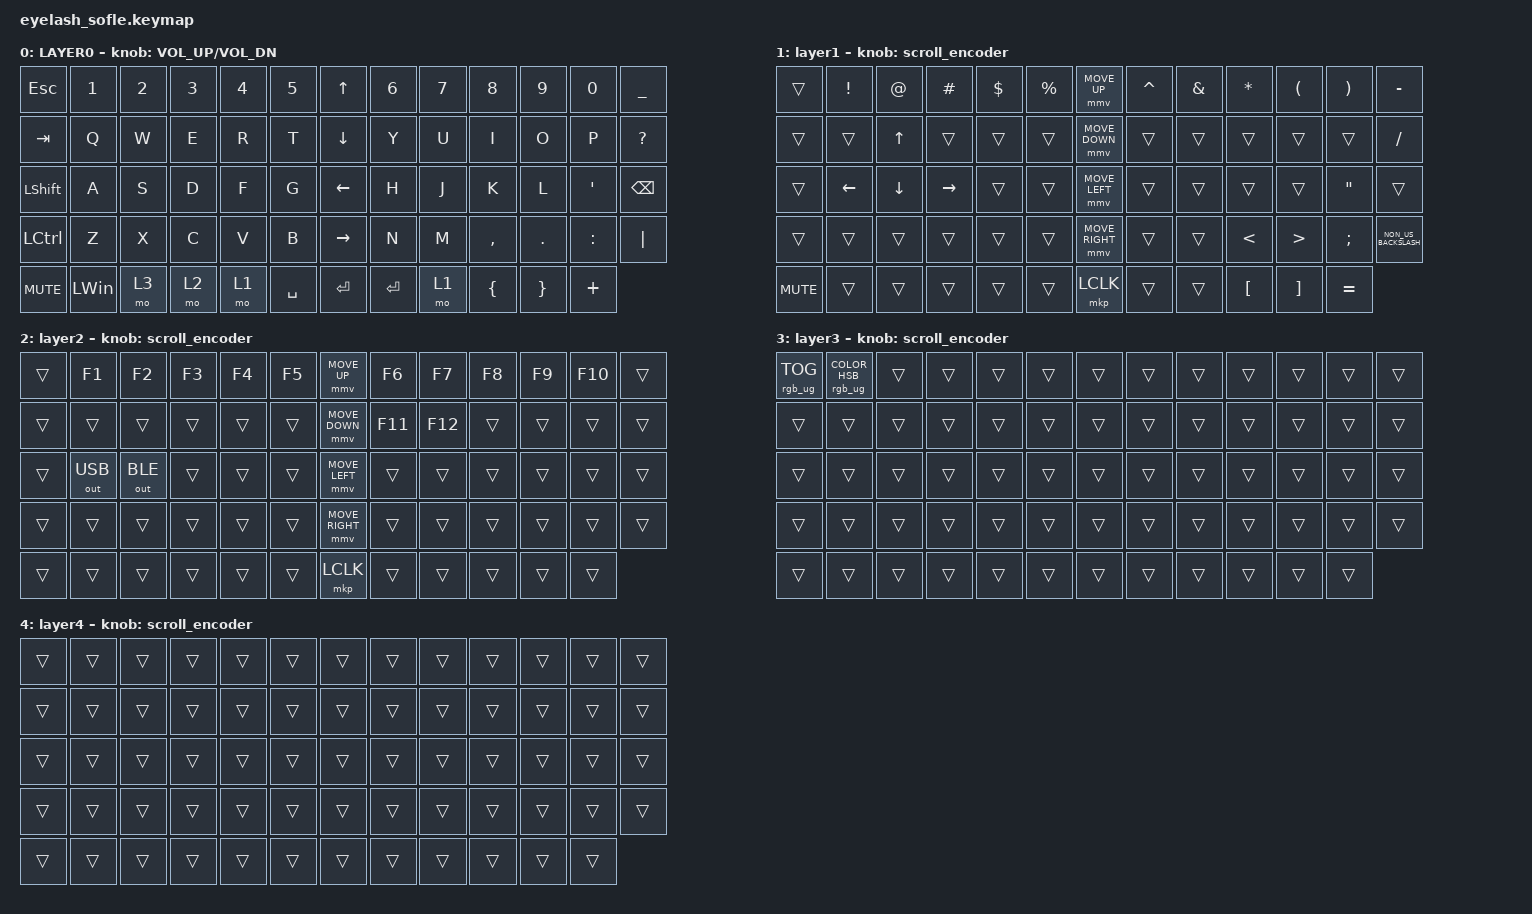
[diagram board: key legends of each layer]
#define ZMK_POINTING_DEFAULT_MOVE_VAL 1200  // 600
#define ZMK_POINTING_DEFAULT_SCRL_VAL 25   // 10

#include <input/processors.dtsi>
#include <zephyr/dt-bindings/input/input-event-codes.h>
#include <behaviors.dtsi>
#include <dt-bindings/zmk/bt.h>
#include <dt-bindings/zmk/keys.h>
#include <dt-bindings/zmk/outputs.h>
#include <dt-bindings/zmk/pointing.h>
#include <dt-bindings/zmk/rgb.h>

&mmv_input_listener { input-processors = <&zip_xy_scaler 2 1>; };

&msc_input_listener { input-processors = <&zip_scroll_scaler 2 1>; };

&msc {
    acceleration-exponent = <1>;      // 0
    time-to-max-speed-ms = <100>;       // 300
    delay-ms = <0>;                   // 0
};

&mmv {
    time-to-max-speed-ms = <500>;
    acceleration-exponent = <1>;
    trigger-period-ms = <16>;
};

&soft_off { hold-time-ms = <2000>; };

/ {
    scroll_encoder: scroll_encoder {
        compatible = "zmk,behavior-sensor-rotate";
        #sensor-binding-cells = <0>;
        bindings = <&msc SCRL_DOWN>, <&msc SCRL_UP>;

        tap-ms = <100>;
    };

    behaviors {
    };

    combos {
        compatible = "zmk,combos";

        softoff {
            bindings = <&soft_off>;
            key-positions = <14 28 40>;
        };
    };

    macros {
        SHIFT_MCLK: SHIFT_MCLK {
            compatible = "zmk,behavior-macro";
            #binding-cells = <0>;
            bindings =
                <&macro_press>,
                <&kp LEFT_SHIFT>,
                <&macro_press>,
                <&mkp MB3>,
                <&macro_pause_for_release>,
                <&macro_release>,
                <&kp LEFT_SHIFT &mkp MB3>;

            label = "SHIFT_MCLK";
        };
    };

    keymap {
        compatible = "zmk,keymap";

        layer0 {
            bindings = <
&kp ESC           &kp N1        &kp N2  &kp N3  &kp N4  &kp N5       &kp UP_ARROW     &kp N6     &kp N7  &kp N8          &kp N9           &kp N0            &kp UNDERSCORE
&kp TAB           &kp Q         &kp W   &kp E   &kp R   &kp T        &kp DOWN_ARROW   &kp Y      &kp U   &kp I           &kp O            &kp P             &kp QUESTION
&kp LSHIFT        &kp A         &kp S   &kp D   &kp F   &kp G        &kp LEFT_ARROW   &kp H      &kp J   &kp K           &kp L            &kp SINGLE_QUOTE  &kp BACKSPACE
&kp LEFT_CONTROL  &kp Z         &kp X   &kp C   &kp V   &kp B        &kp RIGHT_ARROW  &kp N      &kp M   &kp COMMA       &kp DOT          &kp COLON         &kp PIPE
&kp C_MUTE        &kp LEFT_WIN  &mo 3   &mo 2   &mo 1   &kp SPACE    &kp ENTER        &kp ENTER  &mo 1   &kp LEFT_BRACE  &kp RIGHT_BRACE  &kp PLUS
            >;


            sensor-bindings = <&inc_dec_kp C_VOLUME_UP C_VOL_DN>;
            display-name = "LAYER0";
        };

        layer_1 {
            bindings = <
&trans      &kp EXCLAMATION  &kp AT_SIGN     &kp HASH   &kp DOLLAR  &kp PERCENT    &mmv MOVE_UP     &kp CARET  &kp AMPERSAND  &kp ASTERISK      &kp LEFT_PARENTHESIS  &kp RIGHT_PARENTHESIS  &kp MINUS
&trans      &trans           &kp UP_ARROW    &trans     &trans      &trans         &mmv MOVE_DOWN   &trans     &trans         &trans            &trans                &trans                 &kp SLASH
&trans      &kp LEFT_ARROW   &kp DOWN_ARROW  &kp RIGHT  &trans      &trans         &mmv MOVE_LEFT   &trans     &trans         &trans            &trans                &kp DOUBLE_QUOTES      &trans
&trans      &trans           &trans          &trans     &trans      &trans         &mmv MOVE_RIGHT  &trans     &trans         &kp LESS_THAN     &kp GREATER_THAN      &kp SEMICOLON          &kp NON_US_BACKSLASH
&kp C_MUTE  &trans           &trans          &trans     &trans      &trans         &mkp LCLK        &trans     &trans         &kp LEFT_BRACKET  &kp RIGHT_BRACKET     &kp EQUAL
            >;

            display-name = "layer1";
            sensor-bindings = <&scroll_encoder>;
        };

        layer_2 {
            bindings = <
&trans  &kp F1        &kp F2        &kp F3  &kp F4  &kp F5    &mmv MOVE_UP     &kp F6   &kp F7   &kp F8  &kp F9  &kp F10  &trans
&trans  &trans        &trans        &trans  &trans  &trans    &mmv MOVE_DOWN   &kp F11  &kp F12  &trans  &trans  &trans   &trans
&trans  &out OUT_USB  &out OUT_BLE  &trans  &trans  &trans    &mmv MOVE_LEFT   &trans   &trans   &trans  &trans  &trans   &trans
&trans  &trans        &trans        &trans  &trans  &trans    &mmv MOVE_RIGHT  &trans   &trans   &trans  &trans  &trans   &trans
&trans  &trans        &trans        &trans  &trans  &trans    &mkp LCLK        &trans   &trans   &trans  &trans  &trans
            >;

            display-name = "layer2";
            sensor-bindings = <&scroll_encoder>;
        };


        layer_3 {
            bindings = <
&rgb_ug RGB_TOG  &rgb_ug RGB_COLOR_HSB(0,0,100)  &trans  &trans  &trans  &trans    &trans  &trans  &trans  &trans  &trans  &trans  &trans
&trans           &trans                          &trans  &trans  &trans  &trans    &trans  &trans  &trans  &trans  &trans  &trans  &trans
&trans           &trans                          &trans  &trans  &trans  &trans    &trans  &trans  &trans  &trans  &trans  &trans  &trans
&trans           &trans                          &trans  &trans  &trans  &trans    &trans  &trans  &trans  &trans  &trans  &trans  &trans
&trans           &trans                          &trans  &trans  &trans  &trans    &trans  &trans  &trans  &trans  &trans  &trans
            >;

            display-name = "layer3";
            sensor-bindings = <&scroll_encoder>;
        };

        layer_4 {
            bindings = <
&trans  &trans  &trans  &trans  &trans  &trans    &trans  &trans  &trans  &trans  &trans  &trans  &trans
&trans  &trans  &trans  &trans  &trans  &trans    &trans  &trans  &trans  &trans  &trans  &trans  &trans
&trans  &trans  &trans  &trans  &trans  &trans    &trans  &trans  &trans  &trans  &trans  &trans  &trans
&trans  &trans  &trans  &trans  &trans  &trans    &trans  &trans  &trans  &trans  &trans  &trans  &trans
&trans  &trans  &trans  &trans  &trans  &trans    &trans  &trans  &trans  &trans  &trans  &trans
            >;

            display-name = "layer4";
            sensor-bindings = <&scroll_encoder>;
        };
    };
};


